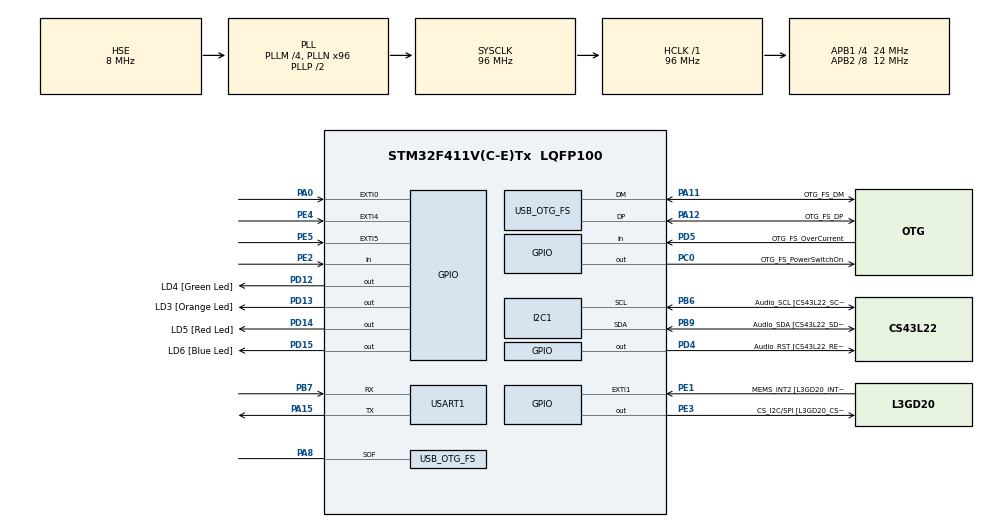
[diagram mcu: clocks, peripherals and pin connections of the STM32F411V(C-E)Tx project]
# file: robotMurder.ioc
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Mcu.Family=STM32F4
Mcu.Name=STM32F411V(C-E)Tx
Mcu.Package=LQFP100
NVIC.OTG_FS_IRQn=true\:0\:0\:false\:false\:true
NVIC.PriorityGroup=NVIC_PRIORITYGROUP_0
PA0-WKUP.GPIO_ModeDefaultEXTI=GPIO_MODE_EVT_RISING
PA0-WKUP.Signal=GPXTI0
PA10.GPIO_Label=OTG_FS_ID
PA10.Signal=USB_OTG_FS_ID
PA11.GPIO_Label=OTG_FS_DM
PA11.Mode=Device_Only
PA11.Signal=USB_OTG_FS_DM
PA12.GPIO_Label=OTG_FS_DP
PA12.Mode=Device_Only
PA12.Signal=USB_OTG_FS_DP
PA13.GPIO_Label=SWDIO
PA13.Signal=SYS_JTMS-SWDIO
PA14.GPIO_Label=SWCLK
PA14.Signal=SYS_JTCK-SWCLK
PA15.Mode=Asynchronous
PA15.Signal=USART1_TX
PA4.GPIO_Label=I2S3_WS [CS43L22_LRCK]
PA4.GPIO_Mode=GPIO_MODE_AF_PP
PA4.GPIO_PuPd=GPIO_NOPULL
PA4.GPIO_Speed=GPIO_SPEED_FREQ_LOW
PA4.Signal=I2S3_WS
PA5.GPIO_Label=SPI1_SCK [L3GD20_SC/SPC]
PA5.Signal=SPI1_SCK
PA6.GPIO_Label=SPI1_MISO [L3GD20_AS0/SDO]
PA6.Signal=SPI1_MISO
PA7.GPIO_Label=SPI1_MOSI [L3GD20_SDA/SDI/SDO]
PA7.Signal=SPI1_MOSI
PA8.Mode=Activate_SOF_FS
PA8.Signal=USB_OTG_FS_SOF
PA9.GPIO_Label=VBUS_FS
PA9.Signal=USB_OTG_FS_VBUS
PB10.GPIO_Label=CLK_IN [MP45DT02_CLK]
PB10.Signal=I2S2_CK
PB12.Signal=I2S2_WS
PB3.GPIO_Label=SWO
PB3.Signal=SYS_JTDO-SWO
PB6.GPIO_Label=Audio_SCL [CS43L22_SCL]
PB6.GPIO_Mode=GPIO_MODE_AF_OD
PB6.GPIO_PuPd=GPIO_NOPULL
PB6.GPIO_Speed=GPIO_SPEED_FREQ_LOW
PB6.Mode=I2C
PB6.Signal=I2C1_SCL
PB7.Mode=Asynchronous
PB7.Signal=USART1_RX
PB9.GPIO_Label=Audio_SDA [CS43L22_SDA]
PB9.GPIO_Mode=GPIO_MODE_AF_OD
PB9.GPIO_PuPd=GPIO_NOPULL
PB9.GPIO_Speed=GPIO_SPEED_FREQ_LOW
PB9.Mode=I2C
PB9.Signal=I2C1_SDA
PC0.GPIO_Label=OTG_FS_PowerSwitchOn
PC0.PinState=GPIO_PIN_SET
PC0.Signal=GPIO_Output
PC10.GPIO_Label=I2S3_SCK [CS43L22_SCLK]
PC10.GPIO_Mode=GPIO_MODE_AF_PP
PC10.GPIO_PuPd=GPIO_NOPULL
PC10.GPIO_Speed=GPIO_SPEED_FREQ_LOW
PC10.Signal=I2S3_CK
PC12.GPIO_Label=I2S3_SD [CS43L22_SDIN]
PC12.GPIO_Mode=GPIO_MODE_AF_PP
PC12.GPIO_PuPd=GPIO_NOPULL
PC12.GPIO_Speed=GPIO_SPEED_FREQ_LOW
PC12.Signal=I2S3_SD
PC14-OSC32_IN.GPIO_Label=PC14-OSC32_IN
PC14-OSC32_IN.Signal=RCC_OSC32_IN
PC15-OSC32_OUT.GPIO_Label=PC15-OSC32_OUT
PC15-OSC32_OUT.Signal=RCC_OSC32_OUT
PC3.GPIO_Label=PDM_OUT [MP45DT02_DOUT]
PC3.Signal=I2S2_SD
PC7.GPIO_Label=I2S3_MCK [CS43L22_MCLK]
PC7.GPIO_Mode=GPIO_MODE_AF_PP
PC7.GPIO_PuPd=GPIO_NOPULL
PC7.GPIO_Speed=GPIO_SPEED_FREQ_LOW
PC7.Signal=I2S3_MCK
PD12.GPIO_Label=LD4 [Green Led]
PD12.GPIO_PuPd=GPIO_NOPULL
PD12.GPIO_Speed=GPIO_SPEED_FREQ_LOW
PD12.Signal=GPIO_Output
PD13.GPIO_Label=LD3 [Orange Led]
PD13.GPIO_PuPd=GPIO_NOPULL
PD13.GPIO_Speed=GPIO_SPEED_FREQ_LOW
PD13.Signal=GPIO_Output
PD14.GPIO_Label=LD5 [Red Led]
PD14.GPIO_PuPd=GPIO_NOPULL
PD14.GPIO_Speed=GPIO_SPEED_FREQ_LOW
PD14.Signal=GPIO_Output
PD15.GPIO_Label=LD6 [Blue Led]
PD15.GPIO_PuPd=GPIO_NOPULL
PD15.GPIO_Speed=GPIO_SPEED_FREQ_LOW
PD15.Signal=GPIO_Output
PD4.GPIO_Label=Audio_RST [CS43L22_RESET]
PD4.Signal=GPIO_Output
PD5.GPIO_Label=OTG_FS_OverCurrent
PD5.Signal=GPIO_Input
PE1.GPIO_Label=MEMS_INT2 [L3GD20_INT2]
PE1.GPIO_ModeDefaultEXTI=GPIO_MODE_EVT_RISING
PE1.Signal=GPXTI1
PE2.Signal=GPIO_Input
PE3.GPIO_Label=CS_I2C/SPI [L3GD20_CS_I2C/SPI]
PE3.Signal=GPIO_Output
PE4.GPIO_ModeDefaultEXTI=GPIO_MODE_EVT_RISING
PE4.Signal=GPXTI4
PE5.GPIO_ModeDefaultEXTI=GPIO_MODE_EVT_RISING
PE5.Signal=GPXTI5
PH0\ -\ OSC_IN.GPIO_Label=PH0-OSC_IN
PH0\ -\ OSC_IN.Mode=HSE-External-Clock-Source
PH0\ -\ OSC_IN.Signal=RCC_OSC_IN
PH1\ -\ OSC_OUT.GPIO_Label=PH1-OSC_OUT
PH1\ -\ OSC_OUT.Mode=HSE-External-Clock-Source
PH1\ -\ OSC_OUT.Signal=RCC_OSC_OUT
ProjectManager.HeapSize=0x200
ProjectManager.StackSize=0x400
ProjectManager.TargetToolchain=SW4STM32
RCC.48MHZClocksFreq_Value=48000000
RCC.AHBFreq_Value=96000000
RCC.APB1CLKDivider=RCC_HCLK_DIV4
RCC.APB1Freq_Value=24000000
RCC.APB1TimFreq_Value=48000000
RCC.APB2CLKDivider=RCC_HCLK_DIV8
RCC.APB2Freq_Value=12000000
RCC.APB2TimFreq_Value=24000000
RCC.CortexFreq_Value=96000000
RCC.HCLKFreq_Value=96000000
RCC.HSE_VALUE=8000000
RCC.HSI_VALUE=16000000
RCC.LSE_VALUE=32768
RCC.PLLI2SM=5
RCC.PLLI2SN=200
RCC.PLLM=4
RCC.PLLN=96
RCC.SYSCLKFreq_VALUE=96000000
RCC.SYSCLKSource=RCC_SYSCLKSOURCE_PLLCLK
RCC.VCOOutputFreq_Value=192000000
USB_DEVICE.CLASS_NAME_FS=CDC
USB_DEVICE.USBD_HandleTypeDef=hUsbDeviceFS
USB_DEVICE.VirtualMode=Cdc
USB_DEVICE.VirtualModeFS=Cdc_FS
USB_OTG_FS.VirtualMode=Device_Only
VP_USB_DEVICE_VS_USB_DEVICE_CDC_FS.Mode=CDC_FS
board=STM32F411E-DISCO

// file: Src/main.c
/**
  ******************************************************************************
  * File Name          : main.c
  * Description        : Main program body
  ******************************************************************************
  *
  * Copyright (c) 2017 STMicroelectronics International N.V.
  * All rights reserved.
  *
  * Redistribution and use in source and binary forms, with or without
  * modification, are permitted, provided that the following conditions are met:
  *
  * 1. Redistribution of source code must retain the above copyright notice,
  *    this list of conditions and the following disclaimer.
  * 2. Redistributions in binary form must reproduce the above copyright notice,
  *    this list of conditions and the following disclaimer in the documentation
  *    and/or other materials provided with the distribution.
  * 3. Neither the name of STMicroelectronics nor the names of other
  *    contributors to this software may be used to endorse or promote products
  *    derived from this software without specific written permission.
  * 4. This software, including modifications and/or derivative works of this
  *    software, must execute solely and exclusively on microcontroller or
  *    microprocessor devices manufactured by or for STMicroelectronics.
  * 5. Redistribution and use of this software other than as permitted under
  *    this license is void and will automatically terminate your rights under
  *    this license.
  *
  * THIS SOFTWARE IS PROVIDED BY STMICROELECTRONICS AND CONTRIBUTORS "AS IS"
  * AND ANY EXPRESS, IMPLIED OR STATUTORY WARRANTIES, INCLUDING, BUT NOT
  * LIMITED TO, THE IMPLIED WARRANTIES OF MERCHANTABILITY, FITNESS FOR A
  * PARTICULAR PURPOSE AND NON-INFRINGEMENT OF THIRD PARTY INTELLECTUAL PROPERTY
  * RIGHTS ARE DISCLAIMED TO THE FULLEST EXTENT PERMITTED BY LAW. IN NO EVENT
  * SHALL STMICROELECTRONICS OR CONTRIBUTORS BE LIABLE FOR ANY DIRECT, INDIRECT,
  * INCIDENTAL, SPECIAL, EXEMPLARY, OR CONSEQUENTIAL DAMAGES (INCLUDING, BUT NOT
  * LIMITED TO, PROCUREMENT OF SUBSTITUTE GOODS OR SERVICES; LOSS OF USE, DATA,
  * OR PROFITS; OR BUSINESS INTERRUPTION) HOWEVER CAUSED AND ON ANY THEORY OF
  * LIABILITY, WHETHER IN CONTRACT, STRICT LIABILITY, OR TORT (INCLUDING
  * NEGLIGENCE OR OTHERWISE) ARISING IN ANY WAY OUT OF THE USE OF THIS SOFTWARE,
  * EVEN IF ADVISED OF THE POSSIBILITY OF SUCH DAMAGE.
  *
  ******************************************************************************
  */
#include "main.h"
//#include "stm32f411e_discovery.h"
#include "stm32f4xx_hal.h"
#include "usb_device.h"

I2C_HandleTypeDef hi2c1;

UART_HandleTypeDef huart1;

/* USER CODE BEGIN PV */
/* Private variables ---------------------------------------------------------*/

/* USER CODE END PV */

void SystemClock_Config(void);
void Error_Handler(void);
static void MX_GPIO_Init(void);
static void MX_I2C1_Init(void);
static void MX_USART1_UART_Init(void);

/* USER CODE BEGIN PFP */
/* Private function prototypes -----------------------------------------------*/
TIM_HandleTypeDef    pwmTimHandle;
TIM_OC_InitTypeDef   PWMChannelConfig;
void PWMSetup(void);
void SET_PWM_DUTY_CYCLE(uint16_t DUTY_CYCLE);

void PWMSetupChannel2(void);
void PWMSetupChannel3(void);
void PWMSetupChannel4(void);
/* USER CODE END PFP */

/* USER CODE BEGIN 0 */
uint8_t* USBRXBUFFER; //Receives communication FROM USB
/* USER CODE END 0 */

int main(void)
{

  /* MCU Configuration----------------------------------------------------------*/

  /* Reset of all peripherals, Initializes the Flash interface and the Systick. */
  HAL_Init();

  /* Configure the system clock */
  SystemClock_Config();

  /* Initialize all configured peripherals */
  MX_GPIO_Init();
  MX_I2C1_Init();
  MX_USART1_UART_Init();
  MX_USB_DEVICE_Init();

  /* USER CODE BEGIN 2 */
	PWMSetup();
	PWMSetupChannel2();
	PWMSetupChannel3();
	PWMSetupChannel4();

  /* USER CODE END 2 */

  /* Infinite loop */
  while (1)
  {

  /* USER CODE BEGIN 3 */
		SET_PWM_DUTY_CYCLE(1200); /*Reverse*/
		HAL_Delay(3000);

		SET_PWM_DUTY_CYCLE(1500); /*STOP*/
		HAL_Delay(3000);

		SET_PWM_DUTY_CYCLE(1800); /*FOREWARD*/
		HAL_Delay(3000);

		SET_PWM_DUTY_CYCLE(1500); /*STOP*/
		HAL_Delay(3000);

		uint8_t testDataToSend[13] = {'H', 'E', 'L','L','O',' ','W','O','R','L','D', '\r'};

		CDC_Transmit_FS(testDataToSend, 12);

  }
  /* USER CODE END 3 */

}

void PWMSetup(void)
{
	/*BEGIN GPIO SETUP*/
	__HAL_RCC_GPIOA_CLK_ENABLE();

	GPIO_InitTypeDef gpioInit;
	gpioInit.Pin = GPIO_PIN_6;

	//SETUP for alternate Function
    gpioInit.Mode = GPIO_MODE_AF_PP;
    gpioInit.Pull = GPIO_PULLUP;
    gpioInit.Speed = GPIO_SPEED_HIGH;
    gpioInit.Alternate = GPIO_AF2_TIM3;
    HAL_GPIO_Init(GPIOA, &gpioInit);
	/*END GPIO SETUP*/

	/*BEGIN TIMER SETUP */
	  __TIM3_CLK_ENABLE();
	pwmTimHandle.Instance = TIM3;
	pwmTimHandle.Init.Prescaler         = 96-1; //uhPrescalerValue;
	pwmTimHandle.Init.Period            = 2000 - 1;	//SHOULD Give PWM Frequency of  500HZ
	pwmTimHandle.Init.ClockDivision     = 0;
	pwmTimHandle.Init.CounterMode       = TIM_COUNTERMODE_UP;
	pwmTimHandle.Init.RepetitionCounter = 0;
	pwmTimHandle.Channel = HAL_TIM_ACTIVE_CHANNEL_1 | HAL_TIM_ACTIVE_CHANNEL_2| HAL_TIM_ACTIVE_CHANNEL_3 | HAL_TIM_ACTIVE_CHANNEL_4;
	HAL_TIM_PWM_Init(&pwmTimHandle);

	/*END TIMER SETUP */

	/*##-2- Configure the PWM channels #########################################*/
	/* Common configuration for all channels */
	PWMChannelConfig.OCMode       = TIM_OCMODE_PWM1;
	PWMChannelConfig.OCPolarity   = TIM_OCPOLARITY_HIGH;
	PWMChannelConfig.OCFastMode   = TIM_OCFAST_DISABLE;
	PWMChannelConfig.OCNPolarity  = TIM_OCNPOLARITY_HIGH;
	PWMChannelConfig.OCNIdleState = TIM_OCNIDLESTATE_RESET;
	PWMChannelConfig.OCIdleState  = TIM_OCIDLESTATE_RESET;

	/* Set the pulse value for channel 1 */
	PWMChannelConfig.Pulse = 1500;    //START AT STOP

	HAL_TIM_PWM_ConfigChannel(&pwmTimHandle, &PWMChannelConfig, TIM_CHANNEL_1);
	HAL_TIM_PWM_Start(&pwmTimHandle, TIM_CHANNEL_1);
}
/*10,000 / 2 = FULL SPEED*/
void SET_PWM_DUTY_CYCLE(uint16_t DUTY_CYCLE)
{
	PWMChannelConfig.Pulse = DUTY_CYCLE;

	HAL_TIM_PWM_ConfigChannel(&pwmTimHandle, &PWMChannelConfig, TIM_CHANNEL_1);
	HAL_TIM_PWM_Start(&pwmTimHandle, TIM_CHANNEL_1);		//MOTOR 1

	HAL_TIM_PWM_ConfigChannel(&pwmTimHandle, &PWMChannelConfig, TIM_CHANNEL_2);
	HAL_TIM_PWM_Start(&pwmTimHandle, TIM_CHANNEL_2);		//MOTOR 2

	HAL_TIM_PWM_ConfigChannel(&pwmTimHandle, &PWMChannelConfig, TIM_CHANNEL_3);
	HAL_TIM_PWM_Start(&pwmTimHandle, TIM_CHANNEL_3);		//MOTOR 3

	HAL_TIM_PWM_ConfigChannel(&pwmTimHandle, &PWMChannelConfig, TIM_CHANNEL_4);
	HAL_TIM_PWM_Start(&pwmTimHandle, TIM_CHANNEL_4);		//MOTOR 4
}

void PWMSetupChannel2(void)
{
	/*BEGIN GPIO SETUP*/
	GPIO_InitTypeDef gpioInit;
	gpioInit.Pin = GPIO_PIN_7;

	//SETUP for alternate Function
    gpioInit.Mode = GPIO_MODE_AF_PP;
    gpioInit.Pull = GPIO_PULLUP;
    gpioInit.Speed = GPIO_SPEED_HIGH;
    gpioInit.Alternate = GPIO_AF2_TIM3;
    HAL_GPIO_Init(GPIOA, &gpioInit);
	/*END GPIO SETUP*/

	HAL_TIM_PWM_ConfigChannel(&pwmTimHandle, &PWMChannelConfig, TIM_CHANNEL_2);
	HAL_TIM_PWM_Start(&pwmTimHandle, TIM_CHANNEL_2);
}

void PWMSetupChannel3(void)
{
	__HAL_RCC_GPIOB_CLK_ENABLE();

	/*BEGIN GPIO SETUP*/
	GPIO_InitTypeDef gpioInit;
	gpioInit.Pin = GPIO_PIN_0;

	//SETUP for alternate Function
    gpioInit.Mode = GPIO_MODE_AF_PP;
    gpioInit.Pull = GPIO_PULLUP;
    gpioInit.Speed = GPIO_SPEED_HIGH;
    gpioInit.Alternate = GPIO_AF2_TIM3;
    HAL_GPIO_Init(GPIOB, &gpioInit);
	/*END GPIO SETUP*/

	HAL_TIM_PWM_ConfigChannel(&pwmTimHandle, &PWMChannelConfig, TIM_CHANNEL_3);
	HAL_TIM_PWM_Start(&pwmTimHandle, TIM_CHANNEL_3);
}

void PWMSetupChannel4(void)
{
	__HAL_RCC_GPIOB_CLK_ENABLE();

	/*BEGIN GPIO SETUP*/
	GPIO_InitTypeDef gpioInit;
	gpioInit.Pin = GPIO_PIN_1;

	//SETUP for alternate Function
    gpioInit.Mode = GPIO_MODE_AF_PP;
    gpioInit.Pull = GPIO_PULLUP;
    gpioInit.Speed = GPIO_SPEED_HIGH;
    gpioInit.Alternate = GPIO_AF2_TIM3;
    HAL_GPIO_Init(GPIOB, &gpioInit);
	/*END GPIO SETUP*/

	HAL_TIM_PWM_ConfigChannel(&pwmTimHandle, &PWMChannelConfig, TIM_CHANNEL_4);
	HAL_TIM_PWM_Start(&pwmTimHandle, TIM_CHANNEL_4);
}

/** System Clock Configuration
*/
void SystemClock_Config(void)
{

  RCC_OscInitTypeDef RCC_OscInitStruct;
  RCC_ClkInitTypeDef RCC_ClkInitStruct;

    /**Configure the main internal regulator output voltage
    */
  __HAL_RCC_PWR_CLK_ENABLE();

  __HAL_PWR_VOLTAGESCALING_CONFIG(PWR_REGULATOR_VOLTAGE_SCALE1);

    /**Initializes the CPU, AHB and APB busses clocks
    */
  RCC_OscInitStruct.OscillatorType = RCC_OSCILLATORTYPE_HSE;
  RCC_OscInitStruct.HSEState = RCC_HSE_BYPASS;
  RCC_OscInitStruct.PLL.PLLState = RCC_PLL_ON;
  RCC_OscInitStruct.PLL.PLLSource = RCC_PLLSOURCE_HSE;
  RCC_OscInitStruct.PLL.PLLM = 4;
  RCC_OscInitStruct.PLL.PLLN = 96;
  RCC_OscInitStruct.PLL.PLLP = RCC_PLLP_DIV2;
  RCC_OscInitStruct.PLL.PLLQ = 4;
  if (HAL_RCC_OscConfig(&RCC_OscInitStruct) != HAL_OK)
  {
    Error_Handler();
  }

    /**Initializes the CPU, AHB and APB busses clocks
    */
  RCC_ClkInitStruct.ClockType = RCC_CLOCKTYPE_HCLK|RCC_CLOCKTYPE_SYSCLK
                              |RCC_CLOCKTYPE_PCLK1|RCC_CLOCKTYPE_PCLK2;
  RCC_ClkInitStruct.SYSCLKSource = RCC_SYSCLKSOURCE_PLLCLK;
  RCC_ClkInitStruct.AHBCLKDivider = RCC_SYSCLK_DIV1;
  RCC_ClkInitStruct.APB1CLKDivider = RCC_HCLK_DIV4;
  RCC_ClkInitStruct.APB2CLKDivider = RCC_HCLK_DIV8;

  if (HAL_RCC_ClockConfig(&RCC_ClkInitStruct, FLASH_LATENCY_3) != HAL_OK)
  {
    Error_Handler();
  }

    /**Configure the Systick interrupt time
    */
  HAL_SYSTICK_Config(HAL_RCC_GetHCLKFreq()/1000);

    /**Configure the Systick
    */
  HAL_SYSTICK_CLKSourceConfig(SYSTICK_CLKSOURCE_HCLK);

  /* SysTick_IRQn interrupt configuration */
  HAL_NVIC_SetPriority(SysTick_IRQn, 0, 0);
}

/* I2C1 init function */
static void MX_I2C1_Init(void)
{

  hi2c1.Instance = I2C1;
  hi2c1.Init.ClockSpeed = 100000;
  hi2c1.Init.DutyCycle = I2C_DUTYCYCLE_2;
  hi2c1.Init.OwnAddress1 = 0;
  hi2c1.Init.AddressingMode = I2C_ADDRESSINGMODE_7BIT;
  hi2c1.Init.DualAddressMode = I2C_DUALADDRESS_DISABLE;
  hi2c1.Init.OwnAddress2 = 0;
  hi2c1.Init.GeneralCallMode = I2C_GENERALCALL_DISABLE;
  hi2c1.Init.NoStretchMode = I2C_NOSTRETCH_DISABLE;
  if (HAL_I2C_Init(&hi2c1) != HAL_OK)
  {
    Error_Handler();
  }

}

/* USART1 init function */
static void MX_USART1_UART_Init(void)
{

  huart1.Instance = USART1;
  huart1.Init.BaudRate = 115200;
  huart1.Init.WordLength = UART_WORDLENGTH_8B;
  huart1.Init.StopBits = UART_STOPBITS_1;
  huart1.Init.Parity = UART_PARITY_NONE;
  huart1.Init.Mode = UART_MODE_TX_RX;
  huart1.Init.HwFlowCtl = UART_HWCONTROL_NONE;
  huart1.Init.OverSampling = UART_OVERSAMPLING_16;
  if (HAL_UART_Init(&huart1) != HAL_OK)
  {
    Error_Handler();
  }

}

/** Configure pins as
        * Analog
        * Input
        * Output
        * EVENT_OUT
        * EXTI
     PC3   ------> I2S2_SD
     PA4   ------> I2S3_WS
     PA5   ------> SPI1_SCK
     PA6   ------> SPI1_MISO
     PA7   ------> SPI1_MOSI
     PB10   ------> I2S2_CK
     PB12   ------> I2S2_WS
     PC7   ------> I2S3_MCK
     PC10   ------> I2S3_CK
     PC12   ------> I2S3_SD
*/
static void MX_GPIO_Init(void)
{

  GPIO_InitTypeDef GPIO_InitStruct;

  /* GPIO Ports Clock Enable */
  __HAL_RCC_GPIOE_CLK_ENABLE();
  __HAL_RCC_GPIOC_CLK_ENABLE();
  __HAL_RCC_GPIOH_CLK_ENABLE();
  __HAL_RCC_GPIOA_CLK_ENABLE();
  __HAL_RCC_GPIOB_CLK_ENABLE();
  __HAL_RCC_GPIOD_CLK_ENABLE();

  /*Configure GPIO pin : PE2 */
  GPIO_InitStruct.Pin = GPIO_PIN_2;
  GPIO_InitStruct.Mode = GPIO_MODE_INPUT;
  GPIO_InitStruct.Pull = GPIO_NOPULL;
  HAL_GPIO_Init(GPIOE, &GPIO_InitStruct);

  /*Configure GPIO pin : CS_I2C_SPI_Pin */
  GPIO_InitStruct.Pin = CS_I2C_SPI_Pin;
  GPIO_InitStruct.Mode = GPIO_MODE_OUTPUT_PP;
  GPIO_InitStruct.Pull = GPIO_NOPULL;
  GPIO_InitStruct.Speed = GPIO_SPEED_FREQ_LOW;
  HAL_GPIO_Init(CS_I2C_SPI_GPIO_Port, &GPIO_InitStruct);

  /*Configure GPIO pins : PE4 PE5 MEMS_INT2_Pin */
  GPIO_InitStruct.Pin = GPIO_PIN_4|GPIO_PIN_5|MEMS_INT2_Pin;
  GPIO_InitStruct.Mode = GPIO_MODE_EVT_RISING;
  GPIO_InitStruct.Pull = GPIO_NOPULL;
  HAL_GPIO_Init(GPIOE, &GPIO_InitStruct);

  /*Configure GPIO pin : OTG_FS_PowerSwitchOn_Pin */
  GPIO_InitStruct.Pin = OTG_FS_PowerSwitchOn_Pin;
  GPIO_InitStruct.Mode = GPIO_MODE_OUTPUT_PP;
  GPIO_InitStruct.Pull = GPIO_NOPULL;
  GPIO_InitStruct.Speed = GPIO_SPEED_FREQ_LOW;
  HAL_GPIO_Init(OTG_FS_PowerSwitchOn_GPIO_Port, &GPIO_InitStruct);

  /*Configure GPIO pin : PDM_OUT_Pin */
  GPIO_InitStruct.Pin = PDM_OUT_Pin;
  GPIO_InitStruct.Mode = GPIO_MODE_AF_PP;
  GPIO_InitStruct.Pull = GPIO_NOPULL;
  GPIO_InitStruct.Speed = GPIO_SPEED_FREQ_LOW;
  GPIO_InitStruct.Alternate = GPIO_AF5_SPI2;
  HAL_GPIO_Init(PDM_OUT_GPIO_Port, &GPIO_InitStruct);

  /*Configure GPIO pin : PA0 */
  GPIO_InitStruct.Pin = GPIO_PIN_0;
  GPIO_InitStruct.Mode = GPIO_MODE_EVT_RISING;
  GPIO_InitStruct.Pull = GPIO_NOPULL;
  HAL_GPIO_Init(GPIOA, &GPIO_InitStruct);

  /*Configure GPIO pin : PA4 */
  GPIO_InitStruct.Pin = GPIO_PIN_4;
  GPIO_InitStruct.Mode = GPIO_MODE_AF_PP;
  GPIO_InitStruct.Pull = GPIO_NOPULL;
  GPIO_InitStruct.Speed = GPIO_SPEED_FREQ_LOW;
  GPIO_InitStruct.Alternate = GPIO_AF6_SPI3;
  HAL_GPIO_Init(GPIOA, &GPIO_InitStruct);

  /*Configure GPIO pins : PA5 PA6 PA7 */
  GPIO_InitStruct.Pin = GPIO_PIN_5|GPIO_PIN_6|GPIO_PIN_7;
  GPIO_InitStruct.Mode = GPIO_MODE_AF_PP;
  GPIO_InitStruct.Pull = GPIO_NOPULL;
  GPIO_InitStruct.Speed = GPIO_SPEED_FREQ_VERY_HIGH;
  GPIO_InitStruct.Alternate = GPIO_AF5_SPI1;
  HAL_GPIO_Init(GPIOA, &GPIO_InitStruct);

  /*Configure GPIO pins : CLK_IN_Pin PB12 */
  GPIO_InitStruct.Pin = CLK_IN_Pin|GPIO_PIN_12;
  GPIO_InitStruct.Mode = GPIO_MODE_AF_PP;
  GPIO_InitStruct.Pull = GPIO_NOPULL;
  GPIO_InitStruct.Speed = GPIO_SPEED_FREQ_LOW;
  GPIO_InitStruct.Alternate = GPIO_AF5_SPI2;
  HAL_GPIO_Init(GPIOB, &GPIO_InitStruct);

  /*Configure GPIO pins : LD4_Pin LD3_Pin LD5_Pin LD6_Pin
                           Audio_RST_Pin */
  GPIO_InitStruct.Pin = LD4_Pin|LD3_Pin|LD5_Pin|LD6_Pin
                          |Audio_RST_Pin;
  GPIO_InitStruct.Mode = GPIO_MODE_OUTPUT_PP;
  GPIO_InitStruct.Pull = GPIO_NOPULL;
  GPIO_InitStruct.Speed = GPIO_SPEED_FREQ_LOW;
  HAL_GPIO_Init(GPIOD, &GPIO_InitStruct);

  /*Configure GPIO pins : PC7 I2S3_SCK_Pin PC12 */
  GPIO_InitStruct.Pin = GPIO_PIN_7|I2S3_SCK_Pin|GPIO_PIN_12;
  GPIO_InitStruct.Mode = GPIO_MODE_AF_PP;
  GPIO_InitStruct.Pull = GPIO_NOPULL;
  GPIO_InitStruct.Speed = GPIO_SPEED_FREQ_LOW;
  GPIO_InitStruct.Alternate = GPIO_AF6_SPI3;
  HAL_GPIO_Init(GPIOC, &GPIO_InitStruct);

  /*Configure GPIO pin : OTG_FS_OverCurrent_Pin */
  GPIO_InitStruct.Pin = OTG_FS_OverCurrent_Pin;
  GPIO_InitStruct.Mode = GPIO_MODE_INPUT;
  GPIO_InitStruct.Pull = GPIO_NOPULL;
  HAL_GPIO_Init(OTG_FS_OverCurrent_GPIO_Port, &GPIO_InitStruct);

  /*Configure GPIO pin Output Level */
  HAL_GPIO_WritePin(CS_I2C_SPI_GPIO_Port, CS_I2C_SPI_Pin, GPIO_PIN_RESET);

  /*Configure GPIO pin Output Level */
  HAL_GPIO_WritePin(OTG_FS_PowerSwitchOn_GPIO_Port, OTG_FS_PowerSwitchOn_Pin, GPIO_PIN_SET);

  /*Configure GPIO pin Output Level */
  HAL_GPIO_WritePin(GPIOD, LD4_Pin|LD3_Pin|LD5_Pin|LD6_Pin
                          |Audio_RST_Pin, GPIO_PIN_RESET);

}

void Error_Handler(void)
{
  while(1)
  {
  }
}

/************************ (C) COPYRIGHT STMicroelectronics *****END OF FILE****/
